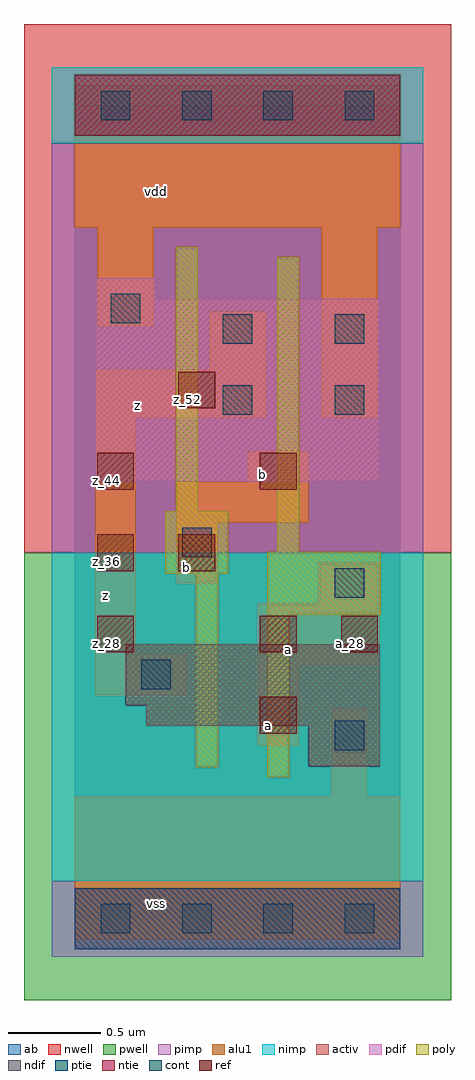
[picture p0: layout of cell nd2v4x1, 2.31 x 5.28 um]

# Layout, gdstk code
import gdstk
lib = gdstk.Library(unit=1e-6, precision=2.5e-09)
def R(c, l, rs):  # rectangles x0, y0, x1, y1
    for r in rs: c.add(gdstk.rectangle(r[:2], r[2:], *l))
def A(c, l, x, y, w, h, nx, ny, dx, dy):  # array of equal rectangles
    R(c, l, [(x+i*dx, y+j*dy, x+i*dx+w, y+j*dy+h) for i in range(nx) for j in range(ny)])
ndif = (3, 0)
pdif = (4, 0)
ntie = (5, 0)
ptie = (6, 0)
ref = (24, 0)
cont = (25, 0)
pwell = (41, 0)
nwell = (42, 0)
activ = (43, 0)
pimp = (44, 0)
nimp = (45, 0)
poly = (46, 0)
alu1 = (49, 0)
ab = (63, 0)

nd2v4x1 = lib.new_cell('nd2v4x1')
R(nd2v4x1, ndif, [(1.265,0.825,1.65,1.045), (0.385,1.045,1.65,1.155), (0.275,1.155,1.65,1.485)])
R(nd2v4x1, pdif, [(0.11,2.365,1.65,3.355), (0.11,3.355,0.44,3.465)])
R(nd2v4x1, ntie, [(0,4.235,1.76,4.565)])
R(nd2v4x1, ptie, [(0,-0.165,1.76,0.165)])
A(nd2v4x1, ref, 0.12, 1.44, 0.2, 0.2, 1, 3, 0, 0.44)
R(nd2v4x1, ref, [(1,1,1.2,1.2), (1,1.44,1.2,1.64), (1.44,1.44,1.64,1.64), (0.56,1.88,0.76,2.08), (1,2.32,1.2,2.52), (0.56,2.76,0.76,2.96)])
A(nd2v4x1, cont, 0.14, -0.08, 0.16, 0.16, 4, 2, 0.44, 4.4)
R(nd2v4x1, cont, [(1.405,0.91,1.565,1.07), (0.36,1.24,0.52,1.4), (1.405,1.735,1.565,1.895), (0.58,1.955,0.74,2.115), (0.8,2.725,0.96,2.885), (1.405,2.725,1.565,2.885), (0.8,3.11,0.96,3.27), (1.405,3.11,1.565,3.27), (0.195,3.22,0.355,3.38)])
R(nd2v4x1, pwell, [(-0.275,-0.44,2.035,1.98)])
R(nd2v4x1, nwell, [(-0.275,1.98,2.035,4.84)])
R(nd2v4x1, activ, [(0,-0.165,1.76,0.165), (1.265,0.825,1.65,1.045), (0.385,1.045,1.65,1.155), (0.275,1.155,1.65,1.485), (0.11,2.365,1.65,3.355), (0.11,3.355,0.44,3.465), (0,4.235,1.76,4.565)])
R(nd2v4x1, pimp, [(-0.125,-0.205,1.885,0.205), (-0.125,1.98,1.885,4.195)])
R(nd2v4x1, nimp, [(-0.125,0.205,1.885,1.98), (-0.125,4.195,1.885,4.605)])
R(nd2v4x1, poly, [(1.04,0.765,1.16,1.645), (0.655,0.82,0.775,1.865), (1.04,1.645,1.655,1.985), (0.49,1.865,0.83,2.205), (1.095,1.985,1.215,3.58), (0.545,2.205,0.665,3.635)])
R(nd2v4x1, alu1, [(0,-0.11,1.76,0.66), (1.39,0.66,1.58,1.14), (0.99,0.935,1.21,1.375), (0.11,1.21,0.605,1.43), (0.99,1.375,1.65,1.705), (0.11,1.43,0.33,2.71), (1.32,1.705,1.65,1.925), (0.55,1.815,0.77,2.145), (0.55,2.145,1.265,2.365), (0.935,2.365,1.265,2.53), (0.11,2.71,1.03,2.97), (1.335,2.71,1.635,3.74), (0.73,2.97,1.03,3.285), (0.125,3.205,0.425,3.74), (0,3.74,1.76,4.51)])
R(nd2v4x1, ab, [(0,0,1.76,4.4)])
nd2v4x1.add(gdstk.Label('vss', (0.44,0.0825), layer=49, texttype=0))
nd2v4x1.add(gdstk.Label('a', (1.045,1.045), layer=49, texttype=0))
nd2v4x1.add(gdstk.Label('a', (1.155,1.4575), layer=49, texttype=0))
nd2v4x1.add(gdstk.Label('b', (0.605,1.8975), layer=49, texttype=0))
nd2v4x1.add(gdstk.Label('b', (1.0175,2.405), layer=49, texttype=0))
nd2v4x1.add(gdstk.Label('z', (0.165,1.75), layer=49, texttype=0))
nd2v4x1.add(gdstk.Label('z', (0.34,2.775), layer=49, texttype=0))
nd2v4x1.add(gdstk.Label('vdd', (0.44,3.9325), layer=49, texttype=0))
nd2v4x1.add(gdstk.Label('b_36', (0.61,1.93), layer=24, texttype=0))
nd2v4x1.add(gdstk.Label('z_52', (0.61,2.81), layer=24, texttype=0))
nd2v4x1.add(gdstk.Label('a_28', (1.05,1.49), layer=24, texttype=0))
nd2v4x1.add(gdstk.Label('b_44', (1.05,2.37), layer=24, texttype=0))
nd2v4x1.add(gdstk.Label('a_28', (1.49,1.49), layer=24, texttype=0))
nd2v4x1.add(gdstk.Label('z_28', (0.17,1.49), layer=24, texttype=0))
nd2v4x1.add(gdstk.Label('z_36', (0.17,1.93), layer=24, texttype=0))
nd2v4x1.add(gdstk.Label('z_44', (0.17,2.37), layer=24, texttype=0))
nd2v4x1.add(gdstk.Label('a_20', (1.05,1.05), layer=24, texttype=0))

lib.write_gds('nd2v4x1.gds')
